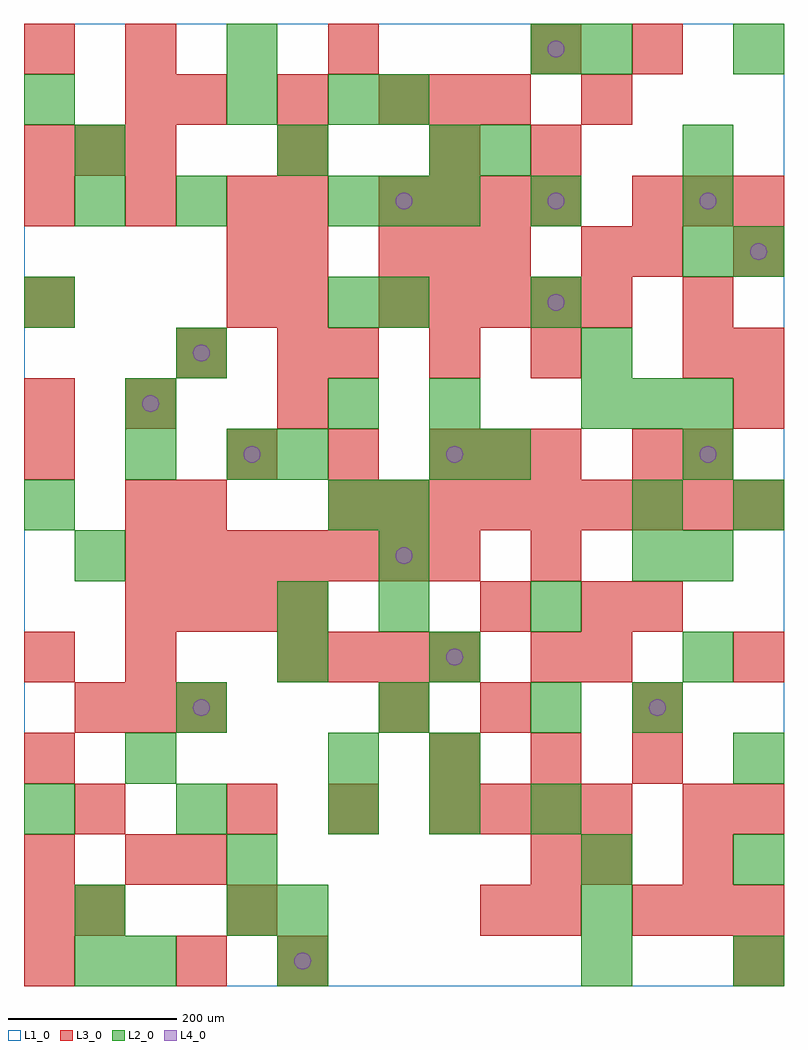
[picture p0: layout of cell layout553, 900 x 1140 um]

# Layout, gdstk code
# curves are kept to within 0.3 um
import gdstk
lib = gdstk.Library(unit=1e-6, precision=1e-09)
def R(c, l, rs):  # rectangles x0, y0, x1, y1
    for r in rs: c.add(gdstk.rectangle(r[:2], r[2:], *l))
def A(c, l, x, y, w, h, nx, ny, dx, dy):  # array of equal rectangles
    R(c, l, [(x+i*dx, y+j*dy, x+i*dx+w, y+j*dy+h) for i in range(nx) for j in range(ny)])
def P(c, l, *ps):  # polygons
    for p in ps: c.add(gdstk.Polygon(p, *l))
L1_0 = (1, 0)
L2_0 = (2, 0)
L3_0 = (3, 0)
L4_0 = (4, 0)

layout553 = lib.new_cell('layout553')
R(layout553, L1_0, [(0,0,900,1140)])
A(layout553, L2_0, 660, 0, 60, 60, 1, 3, 0, 60)
A(layout553, L2_0, 840, 0, 60, 60, 1, 3, 0, 120)
A(layout553, L2_0, 60, 60, 60, 60, 1, 3, 0, 420)
A(layout553, L2_0, 0, 180, 60, 60, 3, 1, 180, 0)
A(layout553, L2_0, 600, 180, 60, 60, 1, 3, 0, 120)
A(layout553, L2_0, 780, 360, 60, 60, 1, 3, 0, 120)
A(layout553, L2_0, 420, 420, 60, 60, 1, 3, 0, 60)
A(layout553, L2_0, 0, 540, 60, 60, 1, 3, 0, 240)
A(layout553, L2_0, 360, 540, 60, 60, 1, 3, 0, 120)
A(layout553, L2_0, 660, 660, 60, 60, 3, 1, 60, 0)
A(layout553, L2_0, 780, 840, 60, 60, 1, 3, 0, 60)
A(layout553, L2_0, 360, 900, 60, 60, 3, 1, 60, 0)
R(layout553, L2_0, [(60,0,120,60), (120,0,180,60), (300,0,360,60), (240,60,300,120), (300,60,360,120), (240,120,300,180), (480,180,540,240), (120,240,180,300), (360,240,420,300), (480,240,540,300), (180,300,240,360), (420,300,480,360), (720,300,780,360), (300,360,360,420), (480,360,540,420), (300,420,360,480), (720,480,780,540), (720,540,780,600), (840,540,900,600), (120,600,180,660), (240,600,300,660), (300,600,360,660), (480,600,540,660), (540,600,600,660), (120,660,180,720), (480,660,540,720), (180,720,240,780), (660,720,720,780), (420,780,480,840), (600,780,660,840), (840,840,900,900), (180,900,240,960), (600,900,660,960), (60,960,120,1020), (300,960,360,1020), (480,960,540,1020), (540,960,600,1020), (240,1020,300,1080), (360,1020,420,1080), (420,1020,480,1080), (240,1080,300,1140), (600,1080,660,1140), (660,1080,720,1140), (840,1080,900,1140)])
A(layout553, L3_0, 0, 0, 60, 60, 1, 3, 0, 60)
A(layout553, L3_0, 840, 0, 60, 60, 1, 3, 0, 180)
A(layout553, L3_0, 720, 60, 60, 60, 3, 2, 60, 840)
A(layout553, L3_0, 240, 180, 60, 60, 3, 2, 120, 420)
A(layout553, L3_0, 540, 180, 60, 60, 3, 1, 60, 0)
A(layout553, L3_0, 480, 240, 60, 60, 3, 1, 120, 0)
A(layout553, L3_0, 60, 300, 60, 60, 3, 1, 60, 0)
A(layout553, L3_0, 300, 360, 60, 60, 4, 1, 60, 0)
A(layout553, L3_0, 600, 360, 60, 60, 1, 3, 0, 120)
A(layout553, L3_0, 120, 420, 60, 60, 4, 1, 60, 0)
A(layout553, L3_0, 120, 480, 60, 60, 7, 1, 60, 0)
A(layout553, L3_0, 360, 540, 60, 60, 9, 1, 60, 0)
A(layout553, L3_0, 720, 600, 60, 60, 1, 3, 0, 240)
A(layout553, L3_0, 300, 660, 60, 60, 1, 6, 0, 60)
A(layout553, L3_0, 360, 720, 60, 60, 3, 1, 120, 0)
A(layout553, L3_0, 420, 780, 60, 60, 5, 1, 60, 0)
A(layout553, L3_0, 420, 840, 60, 60, 3, 1, 60, 0)
A(layout553, L3_0, 0, 900, 60, 60, 3, 1, 120, 0)
A(layout553, L3_0, 420, 900, 60, 60, 4, 1, 60, 0)
A(layout553, L3_0, 0, 960, 60, 60, 3, 1, 60, 0)
A(layout553, L3_0, 180, 1020, 60, 60, 3, 1, 120, 0)
A(layout553, L3_0, 120, 1080, 60, 60, 3, 1, 240, 0)
R(layout553, L3_0, [(180,0,240,60), (300,0,360,60), (60,60,120,120), (240,60,300,120), (540,60,600,120), (600,60,660,120), (120,120,180,180), (180,120,240,180), (600,120,660,180), (660,120,720,180), (780,120,840,180), (60,180,120,240), (780,180,840,240), (0,240,60,300), (420,300,480,360), (540,300,600,360), (720,300,780,360), (0,360,60,420), (120,360,180,420), (660,360,720,420), (540,420,600,480), (660,420,720,480), (720,420,780,480), (120,540,180,600), (180,540,240,600), (0,600,60,660), (540,600,600,660), (780,600,840,660), (0,660,60,720), (120,660,180,720), (840,660,900,720), (180,720,240,780), (780,720,840,780), (840,720,900,780), (0,780,60,840), (240,780,300,840), (780,780,840,840), (240,840,300,900), (660,840,720,900), (840,840,900,900), (480,960,540,1020), (600,960,660,1020), (120,1020,180,1080), (480,1020,540,1080), (540,1020,600,1080), (660,1020,720,1080), (0,1080,60,1140)])
P(layout553, L4_0, [(160,690),(159.239,693.827),(157.071,697.071),(153.827,699.239),(150,700),(146.173,699.239),(142.929,697.071),(140.761,693.827),(140,690),(140.761,686.173),(142.929,682.929),(146.173,680.761),(150,680),(153.827,680.761),(157.071,682.929),(159.239,686.173)],
  [(220,330),(219.239,333.827),(217.071,337.071),(213.827,339.239),(210,340),(206.173,339.239),(202.929,337.071),(200.761,333.827),(200,330),(200.761,326.173),(202.929,322.929),(206.173,320.761),(210,320),(213.827,320.761),(217.071,322.929),(219.239,326.173)],
  [(220,750),(219.239,753.827),(217.071,757.071),(213.827,759.239),(210,760),(206.173,759.239),(202.929,757.071),(200.761,753.827),(200,750),(200.761,746.173),(202.929,742.929),(206.173,740.761),(210,740),(213.827,740.761),(217.071,742.929),(219.239,746.173)],
  [(280,630),(279.239,633.827),(277.071,637.071),(273.827,639.239),(270,640),(266.173,639.239),(262.929,637.071),(260.761,633.827),(260,630),(260.761,626.173),(262.929,622.929),(266.173,620.761),(270,620),(273.827,620.761),(277.071,622.929),(279.239,626.173)],
  [(340,30),(339.239,33.827),(337.071,37.071),(333.827,39.239),(330,40),(326.173,39.239),(322.929,37.071),(320.761,33.827),(320,30),(320.761,26.173),(322.929,22.929),(326.173,20.761),(330,20),(333.827,20.761),(337.071,22.929),(339.239,26.173)],
  [(460,510),(459.239,513.827),(457.071,517.071),(453.827,519.239),(450,520),(446.173,519.239),(442.929,517.071),(440.761,513.827),(440,510),(440.761,506.173),(442.929,502.929),(446.173,500.761),(450,500),(453.827,500.761),(457.071,502.929),(459.239,506.173)],
  [(460,930),(459.239,933.827),(457.071,937.071),(453.827,939.239),(450,940),(446.173,939.239),(442.929,937.071),(440.761,933.827),(440,930),(440.761,926.173),(442.929,922.929),(446.173,920.761),(450,920),(453.827,920.761),(457.071,922.929),(459.239,926.173)],
  [(520,390),(519.239,393.827),(517.071,397.071),(513.827,399.239),(510,400),(506.173,399.239),(502.929,397.071),(500.761,393.827),(500,390),(500.761,386.173),(502.929,382.929),(506.173,380.761),(510,380),(513.827,380.761),(517.071,382.929),(519.239,386.173)],
  [(520,630),(519.239,633.827),(517.071,637.071),(513.827,639.239),(510,640),(506.173,639.239),(502.929,637.071),(500.761,633.827),(500,630),(500.761,626.173),(502.929,622.929),(506.173,620.761),(510,620),(513.827,620.761),(517.071,622.929),(519.239,626.173)],
  [(640,810),(639.239,813.827),(637.071,817.071),(633.827,819.239),(630,820),(626.173,819.239),(622.929,817.071),(620.761,813.827),(620,810),(620.761,806.173),(622.929,802.929),(626.173,800.761),(630,800),(633.827,800.761),(637.071,802.929),(639.239,806.173)],
  [(640,930),(639.239,933.827),(637.071,937.071),(633.827,939.239),(630,940),(626.173,939.239),(622.929,937.071),(620.761,933.827),(620,930),(620.761,926.173),(622.929,922.929),(626.173,920.761),(630,920),(633.827,920.761),(637.071,922.929),(639.239,926.173)],
  [(640,1110),(639.239,1113.827),(637.071,1117.071),(633.827,1119.239),(630,1120),(626.173,1119.239),(622.929,1117.071),(620.761,1113.827),(620,1110),(620.761,1106.173),(622.929,1102.929),(626.173,1100.761),(630,1100),(633.827,1100.761),(637.071,1102.929),(639.239,1106.173)],
  [(760,330),(759.239,333.827),(757.071,337.071),(753.827,339.239),(750,340),(746.173,339.239),(742.929,337.071),(740.761,333.827),(740,330),(740.761,326.173),(742.929,322.929),(746.173,320.761),(750,320),(753.827,320.761),(757.071,322.929),(759.239,326.173)],
  [(820,630),(819.239,633.827),(817.071,637.071),(813.827,639.239),(810,640),(806.173,639.239),(802.929,637.071),(800.761,633.827),(800,630),(800.761,626.173),(802.929,622.929),(806.173,620.761),(810,620),(813.827,620.761),(817.071,622.929),(819.239,626.173)],
  [(820,930),(819.239,933.827),(817.071,937.071),(813.827,939.239),(810,940),(806.173,939.239),(802.929,937.071),(800.761,933.827),(800,930),(800.761,926.173),(802.929,922.929),(806.173,920.761),(810,920),(813.827,920.761),(817.071,922.929),(819.239,926.173)],
  [(880,870),(879.239,873.827),(877.071,877.071),(873.827,879.239),(870,880),(866.173,879.239),(862.929,877.071),(860.761,873.827),(860,870),(860.761,866.173),(862.929,862.929),(866.173,860.761),(870,860),(873.827,860.761),(877.071,862.929),(879.239,866.173)])

lib.write_gds('layout553.gds')
